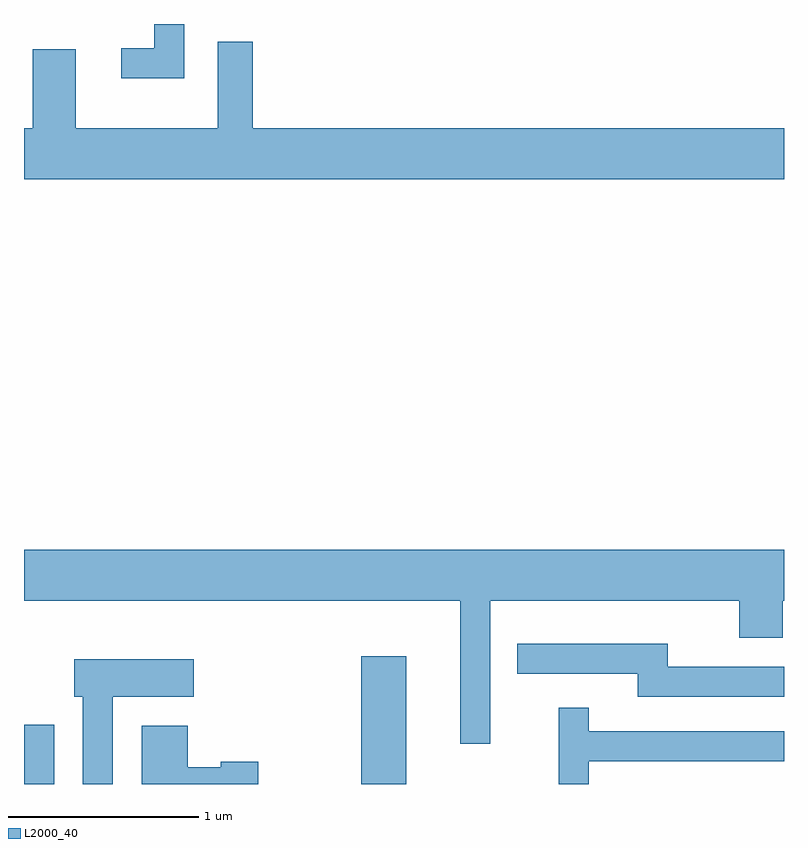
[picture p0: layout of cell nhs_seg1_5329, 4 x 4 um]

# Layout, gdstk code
import gdstk
lib = gdstk.Library(unit=1e-6, precision=1e-09)
def R(c, l, rs):  # rectangles x0, y0, x1, y1
    for r in rs: c.add(gdstk.rectangle(r[:2], r[2:], *l))
def P(c, l, *ps):  # polygons
    for p in ps: c.add(gdstk.Polygon(p, *l))
L2000_40 = (2000, 40)

nhs_seg1_5329 = lib.new_cell('nhs_seg1_5329')
R(nhs_seg1_5329, L2000_40, [(345.611,909.712,345.769,910.024), (347.386,909.712,347.624,910.384)])
P(nhs_seg1_5329, L2000_40, [(346.454,913.712),(346.296,913.712),(346.296,913.584),(346.123,913.584),(346.123,913.426),(346.454,913.426)],
  [(349.611,913.164),(346.814,913.164),(346.814,913.619),(346.631,913.619),(346.631,913.164),(345.884,913.164),(345.884,913.579),(345.656,913.579),(345.656,913.164),(345.611,913.164),(345.611,912.896),(349.611,912.896)],
  [(348.064,910.676),(349.376,910.676),(349.376,910.481),(349.604,910.481),(349.604,910.676),(349.611,910.676),(349.611,910.944),(345.611,910.944),(345.611,910.676),(347.906,910.676),(347.906,909.923),(348.064,909.923)],
  [(349.611,910.329),(348.999,910.329),(348.999,910.449),(348.208,910.449),(348.208,910.291),(348.841,910.291),(348.841,910.171),(349.611,910.171)],
  [(346.079,910.171),(346.504,910.171),(346.504,910.369),(345.876,910.369),(345.876,910.171),(345.921,910.171),(345.921,909.712),(346.079,909.712)],
  [(348.584,909.831),(349.611,909.831),(349.611,909.989),(348.584,909.989),(348.584,910.113),(348.426,910.113),(348.426,909.712),(348.584,909.712)],
  [(346.844,909.829),(346.646,909.829),(346.646,909.799),(346.474,909.799),(346.474,910.019),(346.231,910.019),(346.231,909.712),(346.844,909.712)])

lib.write_gds('nhs_seg1_5329.gds')
